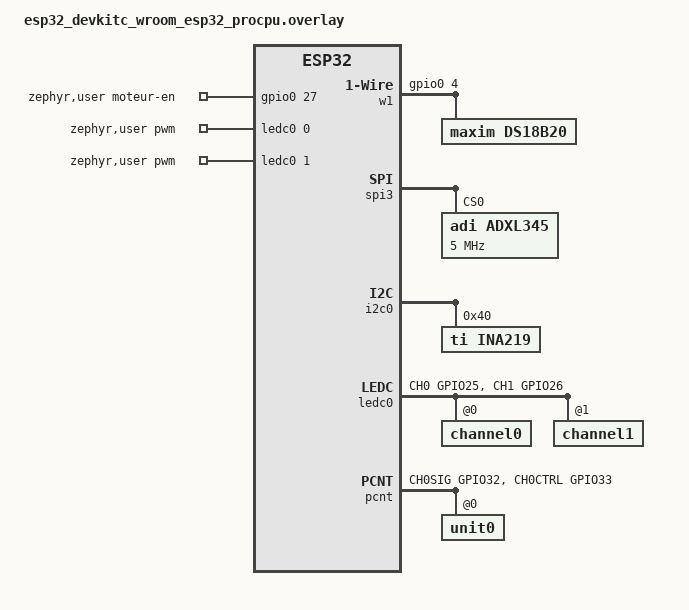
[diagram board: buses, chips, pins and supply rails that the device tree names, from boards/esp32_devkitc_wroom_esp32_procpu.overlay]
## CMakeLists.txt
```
cmake_minimum_required(VERSION 3.20.0)
find_package(Zephyr REQUIRED HINTS $ENV{ZEPHYR_BASE})

# Contournement d'un bug du pilote ADXL345 (SPI) dans Zephyr 3.7.99 : TRUE non defini
zephyr_compile_definitions(TRUE=1)

project(predictmotor)
target_sources(app PRIVATE
  src/main.c
  src/vibration.c
  src/moteur.c
  src/vitesse.c
  src/capteurs_lents.c
)
```

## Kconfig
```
mainmenu "PredictMotor"

config PM_MOTEUR_CONSIGNE
    int "Vitesse du moteur au demarrage (% de PWM, 0 = arret)"
    range 0 100
    default 30
    help
      Le moteur demarre en douceur jusqu'a cette valeur.
      Commencer bas (30 %) pour le premier essai sur le banc.

config PM_ENC_IMPULSIONS_PAR_TOUR
    int "Impulsions comptees par tour de l'arbre de sortie"
    default 220
    help
      Valeur theorique : 2 fronts x 11 impulsions du capteur Hall
      x rapport du reducteur (environ 10). A verifier sur le banc
      en faisant un tour exact de l'arbre a la main.

source "Kconfig.zephyr"
```

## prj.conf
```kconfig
CONFIG_GPIO=y
CONFIG_SPI=y
CONFIG_I2C=y
CONFIG_W1=y
CONFIG_PWM=y
CONFIG_SENSOR=y
CONFIG_LOG=y
CONFIG_CBPRINTF_FP_SUPPORT=y
```

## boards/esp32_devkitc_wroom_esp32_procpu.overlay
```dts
/*
 * Plan de cablage PredictMotor - ESP32 DevKit V1
 *   ADXL345  : SPI3  SCK=18  MISO=19  MOSI=23  CS=5
 *   BTS7960  : RPWM=25  LPWM=26  EN (R_EN + L_EN)=27
 *   Encodeur : A=32  B=33
 *   INA219   : I2C0  SDA=21  SCL=22  (adresse 0x40)
 *   DS18B20  : 1-Wire DATA=4 (+ 4,7 kohm vers 3V3)
 */
#include <zephyr/dt-bindings/pwm/pwm.h>
#include <zephyr/dt-bindings/gpio/gpio.h>

/ {
    /* Nos propres branchements, lus par moteur.c */
    zephyr,user {
        /* PWM a 20 kHz (periode 50 us) : au-dela de l'oreille humaine */
        pwms = <&ledc0 0 PWM_USEC(50) PWM_POLARITY_NORMAL>,   /* RPWM : avant   */
               <&ledc0 1 PWM_USEC(50) PWM_POLARITY_NORMAL>;   /* LPWM : arriere */
        moteur-en-gpios = <&gpio0 27 GPIO_ACTIVE_HIGH>;
    };

    /* Bus 1-Wire realise par logiciel sur une broche GPIO */
    w1: w1 {
        compatible = "zephyr,w1-gpio";
        gpios = <&gpio0 4 (GPIO_ACTIVE_HIGH | GPIO_OPEN_DRAIN | GPIO_PULL_UP)>;

        ds18b20: ds18b20 {
            compatible = "maxim,ds18b20";
            family-code = <0x28>;
            resolution = <12>;          /* 0,0625 degre, conversion 750 ms */
        };
    };
};

&pinctrl {
    ledc0_default: ledc0_default {
        group1 {
            pinmux = <LEDC_CH0_GPIO25>, <LEDC_CH1_GPIO26>;
            output-enable;
        };
    };
    pcnt_default: pcnt_default {
        group1 {
            pinmux = <PCNT0_CH0SIG_GPIO32>, <PCNT0_CH0CTRL_GPIO33>;
            bias-pull-up;
        };
    };
};

/* Accelerometre */
&spi3 {
    status = "okay";

    adxl345: adxl345@0 {
        compatible = "adi,adxl345";
        reg = <0>;
        spi-max-frequency = <5000000>;
        odr = <3>;                /* 100 Hz : doit suivre la cadence de main.c */   /* <<< NOUVEAU */
    };
};

/* Capteur de courant sur le bus I2C de la carte (deja active, SDA=21 SCL=22) */
&i2c0 {
    ina219: ina219@40 {
        compatible = "ti,ina219";
        reg = <0x40>;
        shunt-milliohm = <100>;   /* resistance de 0,1 ohm des modules courants */
        lsb-microamp = <100>;     /* resolution 0,1 mA, jusqu'a environ 3,2 A */
        brng = <0>;               /* plage tension 16 V (on mesure 12 V) */
        pg = <3>;                 /* +/-320 mV sur le shunt = +/-3,2 A */
    };
};

/* Generateur PWM (LEDC) pour le driver BTS7960 */
&ledc0 {
    pinctrl-0 = <&ledc0_default>;
    pinctrl-names = "default";
    status = "okay";
    #address-cells = <1>;
    #size-cells = <0>;
    channel0@0 {
        reg = <0x0>;
        timer = <0>;
    };
    channel1@1 {
        reg = <0x1>;
        timer = <0>;
    };
};

/* Compteur d'impulsions (PCNT) en decodeur de quadrature pour l'encodeur */
&pcnt {
    pinctrl-0 = <&pcnt_default>;
    pinctrl-names = "default";
    status = "okay";
    #address-cells = <1>;
    #size-cells = <0>;
    unit0@0 {
        reg = <0>;
        #address-cells = <1>;
        #size-cells = <0>;
        filter = <100>;              /* ignore les parasites < 100 ns */
        channelA@0 {
            reg = <0>;
            sig-pos-mode = <2>;      /* front montant de A    */
            sig-neg-mode = <1>;      /* front descendant de A */
            ctrl-h-mode = <0>;       /* B decide du sens de comptage */
            ctrl-l-mode = <1>;
        };
    };
};
```

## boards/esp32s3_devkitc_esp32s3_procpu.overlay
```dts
/* ESP32-S3 : ADXL345 sur SPI2 (SCK=12, MISO=13, MOSI=11, CS=10) */
&spi2 {
    status = "okay";

    adxl345: adxl345@0 {
        compatible = "adi,adxl345";
        reg = <0>;
        spi-max-frequency = <5000000>;
    };
};
```

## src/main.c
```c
#include <zephyr/kernel.h>
#include <zephyr/logging/log.h>
#include "vibration.h"
#include "moteur.h"
#include "vitesse.h"
#include "capteurs_lents.h"

LOG_MODULE_REGISTER(main, LOG_LEVEL_INF);

#define FE_HZ 100 /* echantillons par seconde */
#define PERIODE_MS (1000 / FE_HZ)
#define FENETRE FE_HZ /* bilan chaque seconde */

/* Le timer "tape" le semaphore a intervalle regulier */
K_SEM_DEFINE(tick_sem, 0, 1);

static void tick_handler(struct k_timer *t)
{
    ARG_UNUSED(t);
    k_sem_give(&tick_sem);
}
K_TIMER_DEFINE(tick_timer, tick_handler, NULL);

struct stats
{
    float min;
    float max;
};

static void stats_reset(struct stats s[3])
{
    for (int i = 0; i < 3; i++)
    {
        s[i].min = 1e9f;
        s[i].max = -1e9f;
    }
}

static void stats_add(struct stats s[3], const float v[3])
{
    for (int i = 0; i < 3; i++)
    {
        s[i].min = MIN(s[i].min, v[i]);
        s[i].max = MAX(s[i].max, v[i]);
    }
}

static void afficher_bilan(uint32_t sec, float tr_min, const struct stats s[3])
{
    struct mesures_lentes m;

    capteurs_lents_lire(&m);

    printk("t=%3u s | %5.0f tr/min (f_rot=%4.1f Hz) | crete-a-crete x=%.2f y=%.2f z=%.2f m/s2\n",
           sec, (double)tr_min, (double)(tr_min / 60.0f),
           (double)(s[0].max - s[0].min),
           (double)(s[1].max - s[1].min),
           (double)(s[2].max - s[2].min));

    if (m.courant_ok)
    {
        printk("        | I=%.2f A  U=%.1f V", (double)m.courant_a, (double)m.tension_v);
    }
    else
    {
        printk("        | I=--  U=--");
    }
    if (m.temperature_ok)
    {
        printk("  | T=%.1f C\n", (double)m.temperature_c);
    }
    else
    {
        printk("  | T=--\n");
    }
}

int main(void)
{
    float xyz[3];
    float tr_min = 0.0f;
    struct stats s[3];
    uint32_t n = 0;
    uint32_t sec = 0;

    printk("PredictMotor demarre\n");

    /* Le moteur en premier : on s'assure qu'il est arrete */
    if (moteur_init() < 0)
    {
        LOG_ERR("Driver moteur (BTS7960) non pret");
        return 0;
    }
    if (vibration_init() < 0)
    {
        LOG_ERR("ADXL345 non pret : verifier cablage SPI");
        return 0;
    }
    if (vitesse_init() < 0)
    {
        LOG_ERR("Encodeur non pret");
        return 0;
    }

    /* Capteurs lents : utiles mais pas vitaux, ils tournent a cote */
    capteurs_lents_demarrer();

    LOG_INF("Demarrage progressif du moteur jusqu'a %d %%", CONFIG_PM_MOTEUR_CONSIGNE);
    moteur_rampe(CONFIG_PM_MOTEUR_CONSIGNE);

    stats_reset(s);
    k_timer_start(&tick_timer, K_MSEC(PERIODE_MS), K_MSEC(PERIODE_MS));

    while (1)
    {
        k_sem_take(&tick_sem, K_FOREVER);

        if (vibration_lire(xyz) < 0)
        {
            LOG_WRN("echec de lecture ADXL345");
            continue;
        }
        stats_add(s, xyz);

        if (++n == FENETRE)
        {
            sec++;
            (void)vitesse_lire(&tr_min);

            /* DIAGNOSTIC : la derniere mesure brute de la seconde */
            printk("        | brut : x=%.2f y=%.2f z=%.2f m/s2\n",
                   (double)xyz[0], (double)xyz[1], (double)xyz[2]);

            afficher_bilan(sec, tr_min, s);
            stats_reset(s);
            n = 0;
        }
    }
    return 0;
}
```

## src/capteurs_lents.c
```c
#include <zephyr/kernel.h>
#include <zephyr/device.h>
#include <zephyr/drivers/sensor.h>
#include <zephyr/logging/log.h>
#include "capteurs_lents.h"

LOG_MODULE_REGISTER(lents, LOG_LEVEL_INF);

#define PERIODE_MS 2000   /* une mesure toutes les 2 s suffit */
#define PRIORITE   7      /* plus le nombre est grand, moins c'est prioritaire */
#define TAILLE_PILE 2048

static const struct device *const ina = DEVICE_DT_GET(DT_NODELABEL(ina219));
static const struct device *const ds  = DEVICE_DT_GET(DT_NODELABEL(ds18b20));

/* La "boite aux lettres" partagee, protegee par un verrou (mutex) */
static struct mesures_lentes dernieres;
K_MUTEX_DEFINE(verrou);

K_THREAD_STACK_DEFINE(pile, TAILLE_PILE);
static struct k_thread fil;

static void boucle(void *p1, void *p2, void *p3)
{
    ARG_UNUSED(p1);
    ARG_UNUSED(p2);
    ARG_UNUSED(p3);

    bool ina_ok = device_is_ready(ina);
    bool ds_ok = device_is_ready(ds);

    if (!ina_ok) {
        LOG_WRN("INA219 absent : courant non mesure");
    }
    if (!ds_ok) {
        LOG_WRN("DS18B20 absent : temperature non mesuree");
    }

    while (1) {
        struct mesures_lentes m = {0};
        struct sensor_value v;

        if (ina_ok && sensor_sample_fetch(ina) == 0) {
            sensor_channel_get(ina, SENSOR_CHAN_CURRENT, &v);
            m.courant_a = (float)sensor_value_to_double(&v);
            sensor_channel_get(ina, SENSOR_CHAN_VOLTAGE, &v);
            m.tension_v = (float)sensor_value_to_double(&v);
            m.courant_ok = true;
        }

        /* Lent (750 ms) : c'est pour ca qu'on est dans un thread a part */
        if (ds_ok && sensor_sample_fetch(ds) == 0) {
            sensor_channel_get(ds, SENSOR_CHAN_AMBIENT_TEMP, &v);
            m.temperature_c = (float)sensor_value_to_double(&v);
            m.temperature_ok = true;
        }

        k_mutex_lock(&verrou, K_FOREVER);
        dernieres = m;
        k_mutex_unlock(&verrou);

        k_msleep(PERIODE_MS);
    }
}

void capteurs_lents_demarrer(void)
{
    k_thread_create(&fil, pile, K_THREAD_STACK_SIZEOF(pile),
                    boucle, NULL, NULL, NULL,
                    PRIORITE, 0, K_NO_WAIT);
}

void capteurs_lents_lire(struct mesures_lentes *m)
{
    k_mutex_lock(&verrou, K_FOREVER);
    *m = dernieres;
    k_mutex_unlock(&verrou);
}
```

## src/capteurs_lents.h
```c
#ifndef CAPTEURS_LENTS_H
#define CAPTEURS_LENTS_H

#include <stdbool.h>

/* Les dernieres mesures des capteurs lents */
struct mesures_lentes {
    float courant_a;
    float tension_v;
    float temperature_c;
    bool courant_ok;
    bool temperature_ok;
};

/* Lance le thread qui lit courant et temperature en arriere-plan */
void capteurs_lents_demarrer(void);

/* Copie les dernieres valeurs (sans jamais bloquer longtemps) */
void capteurs_lents_lire(struct mesures_lentes *m);

#endif
```

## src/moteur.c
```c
#include <errno.h>
#include <stdlib.h>
#include <zephyr/kernel.h>
#include <zephyr/drivers/pwm.h>
#include <zephyr/drivers/gpio.h>
#include "moteur.h"

#define UTILISATEUR DT_PATH(zephyr_user)

#define PAS_RAMPE    5    /* % par pas */
#define DELAI_RAMPE  50   /* ms entre deux pas */

static const struct pwm_dt_spec pwm_avant   = PWM_DT_SPEC_GET_BY_IDX(UTILISATEUR, 0);
static const struct pwm_dt_spec pwm_arriere = PWM_DT_SPEC_GET_BY_IDX(UTILISATEUR, 1);
static const struct gpio_dt_spec enable     = GPIO_DT_SPEC_GET(UTILISATEUR, moteur_en_gpios);

static int consigne_actuelle;

/* BTS7960 : une seule entree PWM active a la fois, l'autre a 0 */
static int appliquer(int pourcent)
{
    uint32_t impulsion = pwm_avant.period / 100U * (uint32_t)abs(pourcent);
    int ret;

    if (pourcent >= 0) {
        ret = pwm_set_pulse_dt(&pwm_arriere, 0);
        if (ret == 0) {
            ret = pwm_set_pulse_dt(&pwm_avant, impulsion);
        }
    } else {
        ret = pwm_set_pulse_dt(&pwm_avant, 0);
        if (ret == 0) {
            ret = pwm_set_pulse_dt(&pwm_arriere, impulsion);
        }
    }
    return ret;
}

int moteur_init(void)
{
    if (!pwm_is_ready_dt(&pwm_avant) || !pwm_is_ready_dt(&pwm_arriere) ||
        !gpio_is_ready_dt(&enable)) {
        return -ENODEV;
    }

    /* Securite : driver coupe et PWM a zero avant tout */
    int ret = gpio_pin_configure_dt(&enable, GPIO_OUTPUT_INACTIVE);

    if (ret < 0) {
        return ret;
    }
    consigne_actuelle = 0;
    ret = appliquer(0);
    if (ret < 0) {
        return ret;
    }
    return gpio_pin_set_dt(&enable, 1);
}

int moteur_rampe(int cible)
{
    cible = CLAMP(cible, -100, 100);

    /* Monter ou descendre par petits pas : evite les pics de courant */
    while (consigne_actuelle != cible) {
        if (consigne_actuelle < cible) {
            consigne_actuelle = MIN(consigne_actuelle + PAS_RAMPE, cible);
        } else {
            consigne_actuelle = MAX(consigne_actuelle - PAS_RAMPE, cible);
        }
        int ret = appliquer(consigne_actuelle);

        if (ret < 0) {
            return ret;
        }
        k_msleep(DELAI_RAMPE);
    }
    return 0;
}

void moteur_arret(void)
{
    (void)moteur_rampe(0);
    (void)gpio_pin_set_dt(&enable, 0);
}
```

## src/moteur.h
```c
#ifndef MOTEUR_H
#define MOTEUR_H

int moteur_init(void);
/* Va progressivement vers une consigne de -100 (arriere) a +100 (avant) % */
int moteur_rampe(int cible);
/* Arret progressif puis coupure du driver */
void moteur_arret(void);

#endif
```

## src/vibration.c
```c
#include <errno.h>
#include <zephyr/device.h>
#include <zephyr/drivers/sensor.h>
#include "vibration.h"

static const struct device *const accel = DEVICE_DT_GET_ONE(adi_adxl345);

int vibration_init(void)
{
    return device_is_ready(accel) ? 0 : -ENODEV;
}

int vibration_lire(float xyz[3])
{
    struct sensor_value v[3];
    int ret = sensor_sample_fetch(accel);

    if (ret < 0) {
        return ret;
    }
    sensor_channel_get(accel, SENSOR_CHAN_ACCEL_XYZ, v);
    for (int i = 0; i < 3; i++) {
        xyz[i] = (float)sensor_value_to_double(&v[i]);
    }
    return 0;
}
```

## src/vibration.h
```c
#ifndef VIBRATION_H
#define VIBRATION_H

int vibration_init(void);
/* Lit l'acceleration en m/s2 sur x, y, z */
int vibration_lire(float xyz[3]);

#endif
```

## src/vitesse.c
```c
#include <errno.h>
#include <zephyr/kernel.h>
#include <zephyr/device.h>
#include <zephyr/drivers/sensor.h>
#include "vitesse.h"

static const struct device *const pcnt = DEVICE_DT_GET(DT_NODELABEL(pcnt));

static int16_t compte_prec;
static int64_t t_prec;

static int lire_compteur(int16_t *compte)
{
    struct sensor_value v;
    int ret = sensor_sample_fetch(pcnt);

    if (ret < 0) {
        return ret;
    }
    ret = sensor_channel_get(pcnt, SENSOR_CHAN_ROTATION, &v);
    *compte = (int16_t)v.val1;
    return ret;
}

int vitesse_init(void)
{
    if (!device_is_ready(pcnt)) {
        return -ENODEV;
    }
    t_prec = k_uptime_get();
    return lire_compteur(&compte_prec);
}

int vitesse_lire(float *tr_min)
{
    int16_t compte;
    int ret = lire_compteur(&compte);

    if (ret < 0) {
        return ret;
    }
    int64_t t = k_uptime_get();
    /* Le compteur materiel fait 16 bits : la soustraction en int16_t
     * donne le bon resultat meme quand il deborde */
    int16_t delta = (int16_t)(compte - compte_prec);
    int64_t dt_ms = t - t_prec;

    compte_prec = compte;
    t_prec = t;
    if (dt_ms <= 0) {
        return -EAGAIN;
    }
    *tr_min = (float)delta * 60000.0f /
              ((float)dt_ms * (float)CONFIG_PM_ENC_IMPULSIONS_PAR_TOUR);
    return 0;
}
```

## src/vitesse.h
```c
#ifndef VITESSE_H
#define VITESSE_H

int vitesse_init(void);
/* Vitesse de l'arbre de sortie depuis le dernier appel, en tr/min */
int vitesse_lire(float *tr_min);

#endif
```
